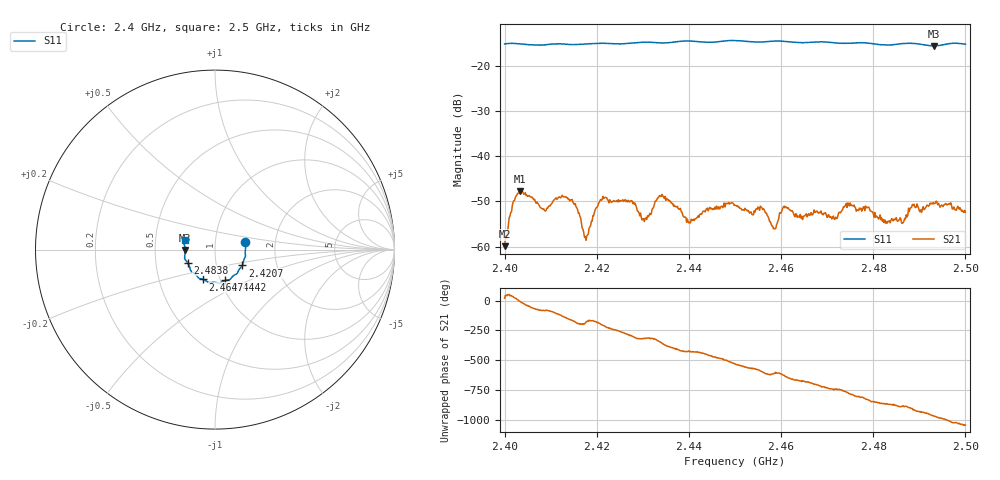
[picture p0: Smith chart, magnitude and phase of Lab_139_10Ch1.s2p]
# Hz S RI R 50
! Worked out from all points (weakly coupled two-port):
!   601 points, 2.4 GHz to 2.5 GHz, reference 50 ohm
!   highest |S21| = -47.68 dB at 2.4033 GHz (marker M1); lowest = -59.9 dB at 2.4 GHz (marker M2)
!   lowest |S11| = -15.6 dB at 2.4932 GHz (marker M3), VSWR 1.40, Z = 35.8 - j0.142 ohm
!   |S11| at or under -10 dB: start of sweep to end of sweep
!   S12 and S22 are empty: the file has one direction only
!   S11 on the Smith chart (normalised r, x): 2.4 GHz: 1.40, +0.12; 2.4207 GHz: 1.33, -0.24; 2.4442 GHz: 1.05, -0.37; 2.4647 GHz: 0.83, -0.29; 2.4838 GHz: 0.73, -0.11; 2.5 GHz: 0.71, +0.07
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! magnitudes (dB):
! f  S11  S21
! 2.4 GHz  -15.2  -59.9
! 2.4033 GHz  -15.2  -47.7
! 2.4085 GHz  -15.4  -51.6
! 2.4135 GHz  -15.3  -49.2
! 2.4167 GHz  -15.3  -54.7
! 2.4178 GHz  -15.2  -57.6
! 2.4207 GHz  -15.1  -49.9
! 2.4278 GHz  -15.0  -50.5
! 2.4303 GHz  -14.8  -54.4
! 2.4333 GHz  -15.0  -49.2
! 2.44 GHz  -14.6  -54.8
! 2.4442 GHz  -14.9  -52.1
! 2.45 GHz  -14.5  -50.8
! 2.4585 GHz  -14.6  -55.9
! 2.4608 GHz  -14.7  -51.4
! 2.4647 GHz  -14.9  -54.0
! 2.4667 GHz  -14.8  -53.0
! 2.475 GHz  -15.1  -50.3
! 2.4833 GHz  -15.5  -54.5
! 2.4838 GHz  -15.4  -54.2
! 2.4932 GHz  -15.6  -50.5
! 2.5 GHz  -15.3  -52.4
